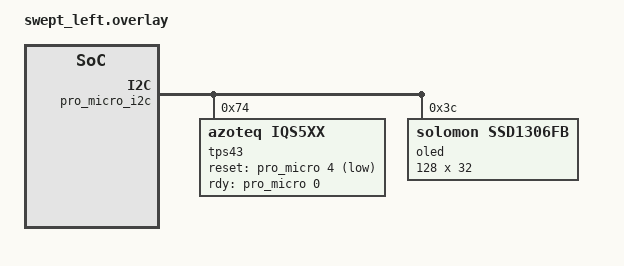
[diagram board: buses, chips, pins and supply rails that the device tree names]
/*
 * Copyright (c) 2020 The ZMK Contributors
 *
 * SPDX-License-Identifier: MIT
 */

#include "swept.dtsi"

&kscan0 {
    col-gpios
        = <&pro_micro 19 GPIO_ACTIVE_HIGH>
        , <&pro_micro 18 GPIO_ACTIVE_HIGH>
        , <&pro_micro 15 GPIO_ACTIVE_HIGH>
        , <&pro_micro 14 GPIO_ACTIVE_HIGH>
        , <&pro_micro 16 GPIO_ACTIVE_HIGH>
        , <&pro_micro 10 GPIO_ACTIVE_HIGH>
        ;
};

&pro_micro_i2c {
    status = "okay";
    tps43: iqs5xx@74 {
        status = "okay";
        compatible = "azoteq,iqs5xx";
        reg = <0x74>;

        reset-gpios = <&pro_micro 4 GPIO_ACTIVE_LOW>;
        rdy-gpios = <&pro_micro 0 GPIO_ACTIVE_HIGH>;

        /*
         * Potentially non-exhaustive list of configuration options.
         * See: dts/bindings/input/azoteq,iqs5xx-common.yaml for a full list.
         */
        one-finger-tap;
        press-and-hold;
        press-and-hold-time = <250>;
        two-finger-tap;

        scroll;
        natural-scroll-x;

        bottom-beta = <15>;
        stationary-threshold = <5>;

        switch-xy;
    };
    
    oled: ssd1306@3c {
        compatible = "solomon,ssd1306fb";
        reg = <0x3c>;
        width = <128>;
        height = <32>;
        segment-offset = <0>;
        page-offset = <0>;
        display-offset = <0>;
        multiplex-ratio = <31>;
        segment-remap;
        com-invdir;
        com-sequential;
        inversion-on;
        prechargep = <0x22>;
    };    
};

&tps43_split {
    device = <&tps43>;

};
